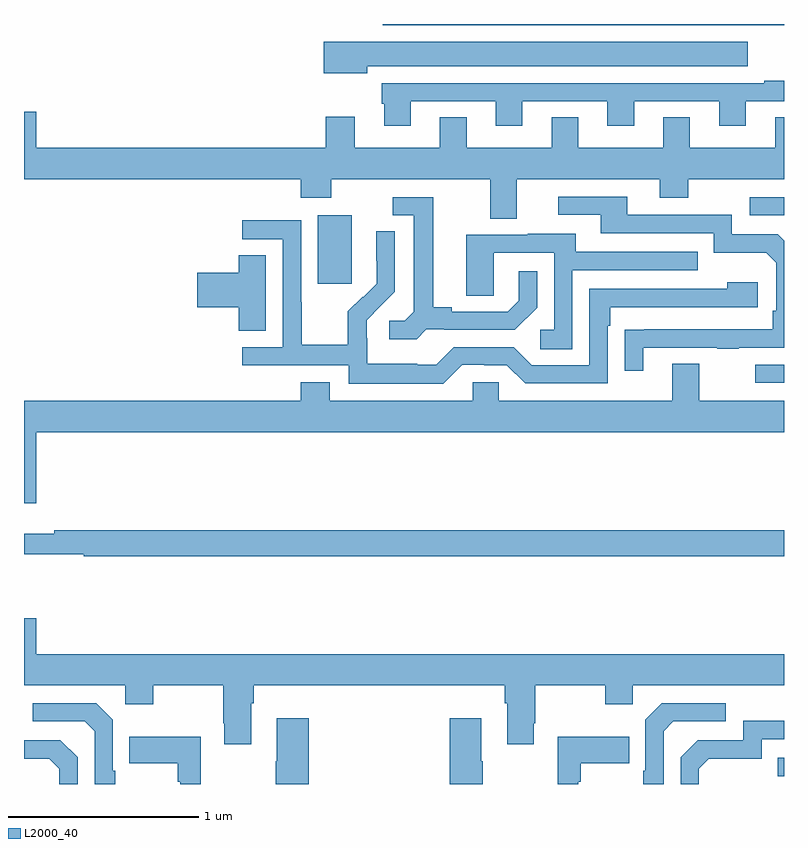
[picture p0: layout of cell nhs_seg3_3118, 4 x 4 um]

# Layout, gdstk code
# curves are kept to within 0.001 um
import gdstk
lib = gdstk.Library(unit=1e-6, precision=1e-09)
def R(c, l, rs):  # rectangles x0, y0, x1, y1
    for r in rs: c.add(gdstk.rectangle(r[:2], r[2:], *l))
def P(c, l, *ps):  # polygons
    for p in ps: c.add(gdstk.Polygon(p, *l))
L2000_40 = (2000, 40)

nhs_seg3_3118 = lib.new_cell('nhs_seg3_3118')
R(nhs_seg3_3118, L2000_40, [(276.967,696.441,277,696.537), (276.849,698.511,277,698.607), (274.547,699.033,274.726,699.394), (276.819,699.393,277,699.489), (274.889,700.394,277,700.4)])
P(nhs_seg3_3118, L2000_40, [(274.807,700.178),(276.808,700.178),(276.808,700.306),(274.578,700.306),(274.578,700.142),(274.807,700.142)],
  [(275.035,699.993),(275.483,699.993),(275.483,699.864),(275.623,699.864),(275.623,699.993),(276.071,699.993),(276.071,699.864),(276.211,699.864),(276.211,699.993),(276.659,699.993),(276.659,699.864),(276.799,699.864),(276.799,699.993),(277,699.993),(277,700.102),(276.895,700.102),(276.895,700.089),(274.883,700.089),(274.883,699.981),(274.895,699.981),(274.895,699.864),(275.035,699.864)],
  [(273,699.937),(273,699.584),(274.457,699.584),(274.457,699.485),(274.617,699.485),(274.617,699.584),(275.453,699.584),(275.453,699.376),(275.593,699.376),(275.593,699.584),(276.347,699.584),(276.347,699.485),(276.495,699.485),(276.495,699.584),(277,699.584),(277,699.908),(276.953,699.908),(276.953,699.748),(276.505,699.748),(276.505,699.908),(276.365,699.908),(276.365,699.748),(275.917,699.748),(275.917,699.908),(275.777,699.908),(275.777,699.748),(275.329,699.748),(275.329,699.908),(275.189,699.908),(275.189,699.748),(274.741,699.748),(274.741,699.913),(274.589,699.913),(274.589,699.748),(273.064,699.748),(273.064,699.937)],
  [(276.259,698.697),(276.649,698.697),(276.649,698.692),(276.761,698.692),(276.761,698.697),(277,698.697),(277,699.26),(276.966,699.294),(276.726,699.294),(276.726,699.396),(276.175,699.396),(276.175,699.492),(275.811,699.492),(275.811,699.396),(276.035,699.396),(276.035,699.3),(276.63,699.3),(276.63,699.197),(276.907,699.197),(276.96,699.144),(276.96,698.89),(276.94,698.89),(276.94,698.793),(276.163,698.792),(276.163,698.574),(276.259,698.574)],
  [(275.118,698.793),(275.212,698.793),(275.212,698.79),(275.584,698.79),(275.7,698.906),(275.7,699.1),(275.603,699.1),(275.603,698.943),(275.546,698.886),(275.251,698.886),(275.251,698.909),(275.155,698.909),(275.155,699.489),(274.941,699.489),(274.941,699.393),(275.051,699.393),(275.051,698.885),(275.004,698.838),(274.923,698.838),(274.923,698.741),(275.066,698.741)],
  [(275.307,698.607),(275.423,698.607),(275.423,698.604),(275.541,698.604),(275.637,698.508),(276.072,698.508),(276.072,698.813),(276.085,698.813),(276.085,698.91),(276.862,698.91),(276.862,699.04),(276.701,699.04),(276.701,699.006),(275.976,699.006),(275.976,698.604),(275.673,698.604),(275.577,698.7),(275.262,698.7),(275.169,698.607),(275.069,698.607),(275.069,698.611),(274.806,698.611),(274.806,698.745),(274.804,698.745),(274.804,698.842),(274.95,698.99),(274.95,699.308),(274.854,699.308),(274.854,699.154),(274.856,699.154),(274.856,699.032),(274.785,698.961),(274.782,698.964),(274.705,698.887),(274.705,698.713),(274.461,698.713),(274.461,698.936),(274.458,698.936),(274.458,699.366),(274.149,699.366),(274.149,699.267),(274.362,699.267),(274.362,698.7),(274.149,698.7),(274.149,698.604),(274.71,698.604),(274.71,698.507),(275.207,698.507)],
  [(275.886,699.105),(276.545,699.105),(276.545,699.201),(275.905,699.201),(275.905,699.295),(275.651,699.295),(275.651,699.291),(275.327,699.291),(275.327,698.971),(275.472,698.971),(275.472,699.195),(275.79,699.195),(275.79,698.79),(275.718,698.79),(275.718,698.689),(275.886,698.689)],
  [(274.273,699.182),(274.13,699.182),(274.13,699.092),(273.912,699.092),(273.912,698.909),(274.13,698.909),(274.13,698.785),(274.273,698.785)],
  [(273.064,698.252),(277,698.252),(277,698.416),(276.553,698.416),(276.553,698.611),(276.413,698.611),(276.413,698.416),(275.499,698.416),(275.499,698.514),(275.361,698.514),(275.361,698.416),(274.609,698.416),(274.609,698.515),(274.457,698.515),(274.457,698.416),(273,698.416),(273,697.878),(273.064,697.878)],
  [(277,697.736),(273.16,697.736),(273.16,697.717),(273,697.717),(273,697.608),(273.315,697.608),(273.315,697.6),(277,697.6)],
  [(274.195,696.824),(274.208,696.824),(274.208,696.92),(275.531,696.92),(275.531,696.824),(275.543,696.824),(275.543,696.609),(275.683,696.609),(275.683,696.721),(275.691,696.721),(275.691,696.92),(276.058,696.92),(276.058,696.821),(276.204,696.821),(276.204,696.92),(277,696.92),(277,697.084),(273.064,697.084),(273.064,697.273),(273,697.273),(273,696.92),(273.534,696.92),(273.534,696.821),(273.681,696.821),(273.681,696.92),(274.048,696.92),(274.048,696.721),(274.055,696.721),(274.055,696.609),(274.195,696.609)],
  [(273.481,696.469),(273.468,696.469),(273.468,696.738),(273.381,696.825),(273.045,696.825),(273.045,696.729),(273.321,696.729),(273.372,696.678),(273.372,696.4),(273.481,696.4)],
  [(276.366,696.678),(276.417,696.729),(276.694,696.729),(276.694,696.825),(276.357,696.825),(276.27,696.738),(276.27,696.469),(276.258,696.469),(276.258,696.4),(276.366,696.4)],
  [(275.415,696.521),(275.407,696.521),(275.407,696.745),(275.24,696.745),(275.24,696.4),(275.415,696.4)],
  [(274.499,696.745),(274.331,696.745),(274.331,696.521),(274.324,696.521),(274.324,696.4),(274.499,696.4)],
  [(276.552,696.48),(276.605,696.533),(276.882,696.533),(276.882,696.636),(277,696.636),(277,696.732),(276.786,696.732),(276.786,696.63),(276.546,696.63),(276.456,696.54),(276.456,696.4),(276.552,696.4)],
  [(275.916,696.413),(275.929,696.413),(275.929,696.509),(276.185,696.509),(276.185,696.649),(275.808,696.649),(275.808,696.4),(275.916,696.4)],
  [(273.931,696.649),(273.553,696.649),(273.553,696.509),(273.81,696.509),(273.81,696.413),(273.822,696.413),(273.822,696.4),(273.931,696.4)],
  [(273.282,696.54),(273.192,696.63),(273,696.63),(273,696.533),(273.133,696.533),(273.186,696.48),(273.186,696.4),(273.282,696.4)])

lib.write_gds('nhs_seg3_3118.gds')
